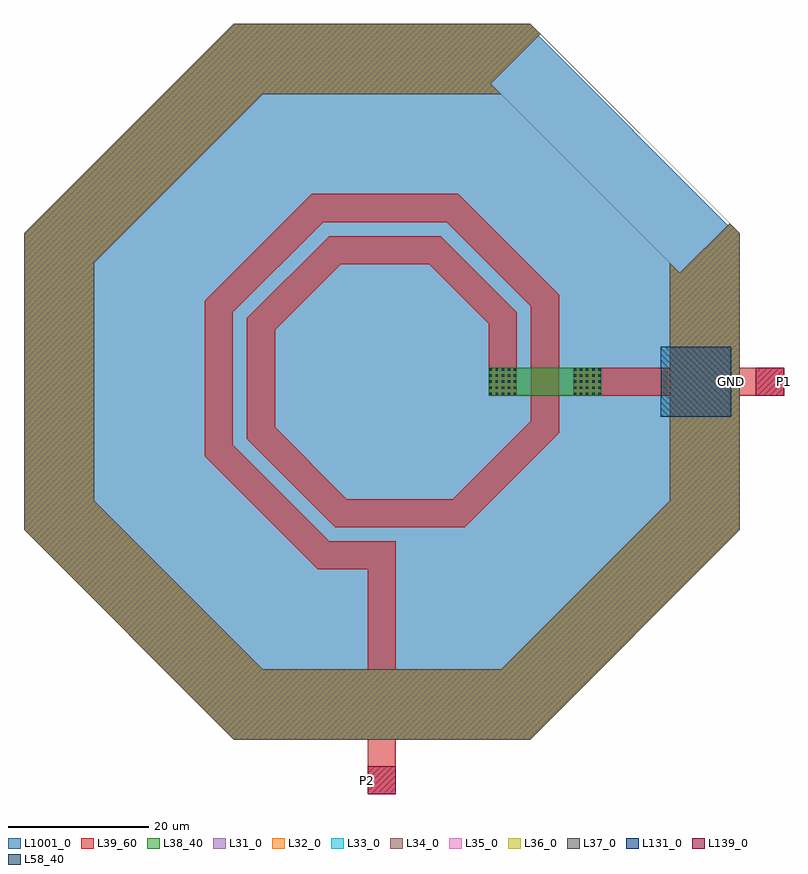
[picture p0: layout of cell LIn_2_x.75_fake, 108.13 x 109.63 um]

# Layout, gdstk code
import gdstk
lib = gdstk.Library(unit=1e-6, precision=1e-09)
def R(c, l, rs):  # rectangles x0, y0, x1, y1
    for r in rs: c.add(gdstk.rectangle(r[:2], r[2:], *l))
def A(c, l, x, y, w, h, nx, ny, dx, dy):  # array of equal rectangles
    R(c, l, [(x+i*dx, y+j*dy, x+i*dx+w, y+j*dy+h) for i in range(nx) for j in range(ny)])
def P(c, l, *ps):  # polygons
    for p in ps: c.add(gdstk.Polygon(p, *l))
L31_0 = (31, 0)
L32_0 = (32, 0)
L33_0 = (33, 0)
L34_0 = (34, 0)
L35_0 = (35, 0)
L36_0 = (36, 0)
L37_0 = (37, 0)
L38_40 = (38, 40)
L39_60 = (39, 60)
L58_40 = (58, 40)
L131_0 = (131, 0)
L139_0 = (139, 0)
L1001_0 = (1001, 0)

lin_2_x_75_fake = lib.new_cell('LIn_2_x.75_fake')
P(lin_2_x_75_fake, L31_0, [(42.387,15.486),(49.458,22.557),(21.093,50.922),(-21.093,50.922),(-50.922,21.093),(-50.922,-21.093),(-21.093,-50.922),(21.093,-50.922),(50.922,-21.093),(50.922,21.093),(22.557,49.458),(15.486,42.387),(40.922,16.951),(40.922,-16.951),(16.951,-40.922),(-16.951,-40.922),(-40.922,-16.951),(-40.922,16.951),(-16.951,40.922),(16.951,40.922)])
P(lin_2_x_75_fake, L32_0, [(42.387,15.486),(49.458,22.557),(21.093,50.922),(-21.093,50.922),(-50.922,21.093),(-50.922,-21.093),(-21.093,-50.922),(21.093,-50.922),(50.922,-21.093),(50.922,21.093),(22.557,49.458),(15.486,42.387),(40.922,16.951),(40.922,-16.951),(16.951,-40.922),(-16.951,-40.922),(-40.922,-16.951),(-40.922,16.951),(-16.951,40.922),(16.951,40.922)])
P(lin_2_x_75_fake, L33_0, [(42.387,15.486),(49.458,22.557),(21.093,50.922),(-21.093,50.922),(-50.922,21.093),(-50.922,-21.093),(-21.093,-50.922),(21.093,-50.922),(50.922,-21.093),(50.922,21.093),(22.557,49.458),(15.486,42.387),(40.922,16.951),(40.922,-16.951),(16.951,-40.922),(-16.951,-40.922),(-40.922,-16.951),(-40.922,16.951),(-16.951,40.922),(16.951,40.922)])
P(lin_2_x_75_fake, L34_0, [(42.387,15.486),(49.458,22.557),(21.093,50.922),(-21.093,50.922),(-50.922,21.093),(-50.922,-21.093),(-21.093,-50.922),(21.093,-50.922),(50.922,-21.093),(50.922,21.093),(22.557,49.458),(15.486,42.387),(40.922,16.951),(40.922,-16.951),(16.951,-40.922),(-16.951,-40.922),(-40.922,-16.951),(-40.922,16.951),(-16.951,40.922),(16.951,40.922)])
P(lin_2_x_75_fake, L35_0, [(42.387,15.486),(49.458,22.557),(21.093,50.922),(-21.093,50.922),(-50.922,21.093),(-50.922,-21.093),(-21.093,-50.922),(21.093,-50.922),(50.922,-21.093),(50.922,21.093),(22.557,49.458),(15.486,42.387),(40.922,16.951),(40.922,-16.951),(16.951,-40.922),(-16.951,-40.922),(-40.922,-16.951),(-40.922,16.951),(-16.951,40.922),(16.951,40.922)])
P(lin_2_x_75_fake, L36_0, [(42.387,15.486),(49.458,22.557),(21.093,50.922),(-21.093,50.922),(-50.922,21.093),(-50.922,-21.093),(-21.093,-50.922),(21.093,-50.922),(50.922,-21.093),(50.922,21.093),(22.557,49.458),(15.486,42.387),(40.922,16.951),(40.922,-16.951),(16.951,-40.922),(-16.951,-40.922),(-40.922,-16.951),(-40.922,16.951),(-16.951,40.922),(16.951,40.922)])
P(lin_2_x_75_fake, L37_0, [(42.387,15.486),(49.458,22.557),(21.093,50.922),(-21.093,50.922),(-50.922,21.093),(-50.922,-21.093),(-21.093,-50.922),(21.093,-50.922),(50.922,-21.093),(50.922,21.093),(22.557,49.458),(15.486,42.387),(40.922,16.951),(40.922,-16.951),(16.951,-40.922),(-16.951,-40.922),(-40.922,-16.951),(-40.922,16.951),(-16.951,40.922),(16.951,40.922)])
R(lin_2_x_75_fake, L38_40, [(15.205,-2,31.205,2)])
P(lin_2_x_75_fake, L38_40, [(42.387,15.486),(49.458,22.557),(21.093,50.922),(-21.093,50.922),(-50.922,21.093),(-50.922,-21.093),(-21.093,-50.922),(21.093,-50.922),(50.922,-21.093),(50.922,21.093),(22.557,49.458),(15.486,42.387),(40.922,16.951),(40.922,-16.951),(16.951,-40.922),(-16.951,-40.922),(-40.922,-16.951),(-40.922,16.951),(-16.951,40.922),(16.951,40.922)])
R(lin_2_x_75_fake, L39_60, [(-2,-58.705,2,-22.705), (27.205,-2,57.205,2)])
P(lin_2_x_75_fake, L39_60, [(15.205,-2),(19.205,-2),(19.205,9.893),(8.393,20.705),(-7.518,20.705),(-19.205,9.018),(-19.205,-8.138),(-6.638,-20.705),(11.758,-20.705),(25.205,-7.258),(25.205,12.378),(10.878,26.705),(-10.003,26.705),(-25.205,11.503),(-25.205,-10.623),(-9.123,-26.705),(0,-26.705),(0,-22.705),(-7.467,-22.705),(-21.205,-8.967),(-21.205,9.847),(-8.347,22.705),(9.222,22.705),(21.205,10.722),(21.205,-5.602),(10.102,-16.705),(-4.982,-16.705),(-15.205,-6.482),(-15.205,7.362),(-5.862,16.705),(6.737,16.705),(15.205,8.237)],
  [(42.387,15.486),(49.458,22.557),(21.093,50.922),(-21.093,50.922),(-50.922,21.093),(-50.922,-21.093),(-21.093,-50.922),(21.093,-50.922),(50.922,-21.093),(50.922,21.093),(22.557,49.458),(15.486,42.387),(40.922,16.951),(40.922,-16.951),(16.951,-40.922),(-16.951,-40.922),(-40.922,-16.951),(-40.922,16.951),(-16.951,40.922),(16.951,40.922)])
A(lin_2_x_75_fake, L58_40, 15.291, -1.915, 0.35, 0.35, 5, 5, 0.87, 0.87)
A(lin_2_x_75_fake, L58_40, 27.291, -1.915, 0.35, 0.35, 5, 5, 0.87, 0.87)
R(lin_2_x_75_fake, L131_0, [(39.705,-5,49.705,5)])
R(lin_2_x_75_fake, L139_0, [(-2,-58.705,2,-54.705), (53.205,-2,57.205,2)])
P(lin_2_x_75_fake, L1001_0, [(50.542,20.935),(20.935,50.542),(-20.935,50.542),(-50.542,20.935),(-50.542,-20.935),(-20.935,-50.542),(20.935,-50.542),(50.542,-20.935)],
  [(50.542,20.935),(20.935,50.542),(-20.935,50.542),(-50.542,20.935),(-50.542,-20.935),(-20.935,-50.542),(20.935,-50.542),(50.542,-20.935)],
  [(50.542,20.935),(20.935,50.542),(-20.935,50.542),(-50.542,20.935),(-50.542,-20.935),(-20.935,-50.542),(20.935,-50.542),(50.542,-20.935)],
  [(50.542,20.935),(20.935,50.542),(-20.935,50.542),(-50.542,20.935),(-50.542,-20.935),(-20.935,-50.542),(20.935,-50.542),(50.542,-20.935)],
  [(50.542,20.935),(20.935,50.542),(-20.935,50.542),(-50.542,20.935),(-50.542,-20.935),(-20.935,-50.542),(20.935,-50.542),(50.542,-20.935)],
  [(50.542,20.935),(20.935,50.542),(-20.935,50.542),(-50.542,20.935),(-50.542,-20.935),(-20.935,-50.542),(20.935,-50.542),(50.542,-20.935)],
  [(50.542,20.935),(20.935,50.542),(-20.935,50.542),(-50.542,20.935),(-50.542,-20.935),(-20.935,-50.542),(20.935,-50.542),(50.542,-20.935)],
  [(50.542,20.935),(20.935,50.542),(-20.935,50.542),(-50.542,20.935),(-50.542,-20.935),(-20.935,-50.542),(20.935,-50.542),(50.542,-20.935)],
  [(50.542,20.935),(20.935,50.542),(-20.935,50.542),(-50.542,20.935),(-50.542,-20.935),(-20.935,-50.542),(20.935,-50.542),(50.542,-20.935)])
lin_2_x_75_fake.add(gdstk.Label('P1', (57.206,0), layer=139, texttype=0))
lin_2_x_75_fake.add(gdstk.Label('P2', (-2,-56.706), layer=139, texttype=0))
lin_2_x_75_fake.add(gdstk.Label('GND', (49.706,0), layer=131, texttype=0))

lib.write_gds('LIn_2_x.75_fake.gds')
